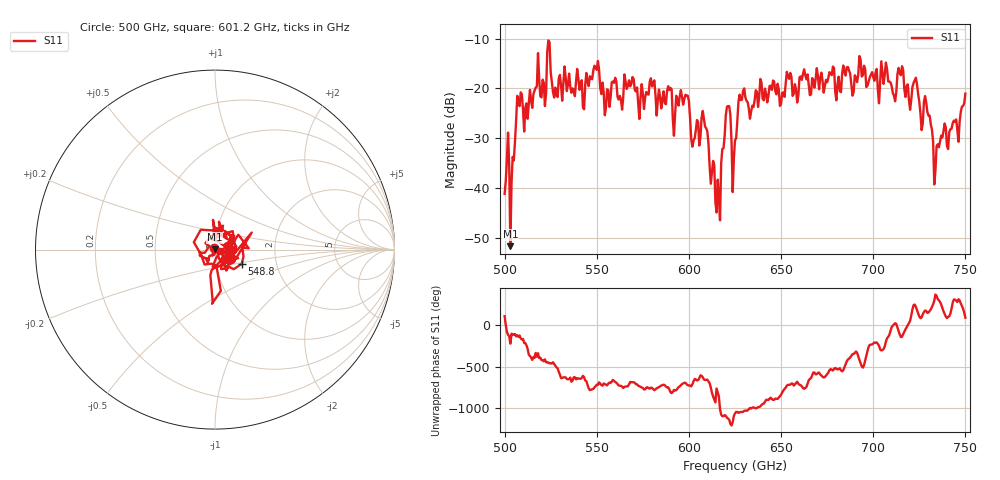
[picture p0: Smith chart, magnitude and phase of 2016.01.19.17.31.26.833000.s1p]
!Created with skrf (http://scikit-rf.org).
# GHz S RI R 50.0
!freq ReS11 ImS11
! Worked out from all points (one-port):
!   401 points, 500 GHz to 750 GHz, reference 50 ohm
!   lowest |S11| = -51.7 dB at 503.1 GHz (marker M1), VSWR 1.01, Z = 49.8 + j0.166 ohm
!   |S11| at or under -10 dB: start of sweep to end of sweep
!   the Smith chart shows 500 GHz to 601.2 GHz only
!   S11 on the Smith chart (normalised r, x): 500 GHz: 0.99, +0.02; 548.8 GHz: 1.33, -0.22; 601.2 GHz: 1.06, -0.02
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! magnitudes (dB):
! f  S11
! 500 GHz  -41.2
! 503.1 GHz  -51.7
! 504.4 GHz  -33.8
! 508.1 GHz  -23.6
! 521.2 GHz  -18.9
! 524.4 GHz  -10.8
! 527.5 GHz  -19.9
! 531.2 GHz  -22.5
! 548.8 GHz  -15.5
! 562.5 GHz  -21.5
! 580 GHz  -19.6
! 593.8 GHz  -22.2
! 598.8 GHz  -21.4
! 601.2 GHz  -30.2
! 608.8 GHz  -27.7
! 615.6 GHz  -38.4
! 621.2 GHz  -23.6
! 625 GHz  -30.4
! 628.8 GHz  -22.3
! 656.2 GHz  -21.5
! 687.5 GHz  -17.1
! 705.6 GHz  -19.1
! 711.2 GHz  -21.5
! 715 GHz  -17.4
! 718.8 GHz  -19.2
! 728.8 GHz  -22.9
! 734.4 GHz  -31.7
! 750 GHz  -21.1
